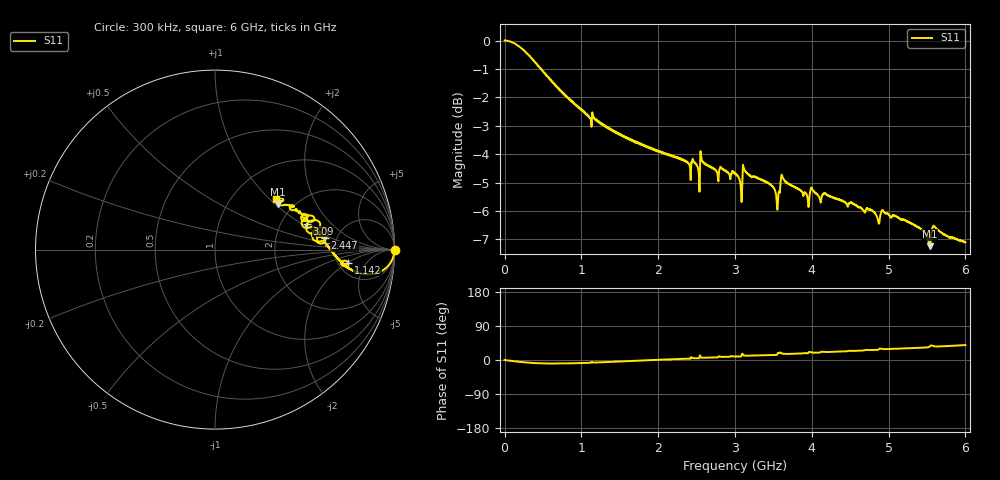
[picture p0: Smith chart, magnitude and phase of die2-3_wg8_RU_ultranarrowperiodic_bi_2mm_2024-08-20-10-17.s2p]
!Keysight Technologies,P9374A,MY57304198,A.17.20.09
!Date: Tuesday, August 20, 2024 10:17:24
!Correction: S11(C  1-Port  )
!S21(C  1-Port  )
!S12(Off)
!S22(Off)
!S2P File: Measurements: S11, S21, S12, S22:
# Hz S  dB  R 50
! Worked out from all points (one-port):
!   6000 points, 300 kHz to 6 GHz, reference 50 ohm
!   lowest |S11| = -7.2 dB at 5.535 GHz (marker M1), VSWR 2.54, Z = 83.9 + j52.5 ohm
!   |S11| at or under -10 dB: nowhere
!   S11 on the Smith chart (normalised r, x): 300 kHz: open; 1.142 GHz: 6.20, -2.03; 2.447 GHz: 4.05, +0.82; 3.09 GHz: 2.77, +1.12; 6 GHz: 1.57, +1.09
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300000  0.00 -0.0  -200.00 45.0  -200.00 45.0  -200.00 45.0
2.323271e8  -0.30 -5.5  -200.00 45.0  -200.00 45.0  -200.00 45.0
4.11348e8  -0.80 -8.2  -200.00 45.0  -200.00 45.0  -200.00 45.0
1.000417e9  -2.45 -8.1  -200.00 45.0  -200.00 45.0  -200.00 45.0
1.142433e9  -2.54 -5.6  -200.00 45.0  -200.00 45.0  -200.00 45.0
2.000533e9  -3.89 0.6  -200.00 45.0  -200.00 45.0  -200.00 45.0
2.446585e9  -4.20 5.8  -200.00 45.0  -200.00 45.0  -200.00 45.0
3.00065e9  -4.69 9.4  -200.00 45.0  -200.00 45.0  -200.00 45.0
3.055656e9  -4.85 9.3  -200.00 45.0  -200.00 45.0  -200.00 45.0
3.08966e9  -5.48 15.8  -200.00 45.0  -200.00 45.0  -200.00 45.0
3.131665e9  -4.59 11.4  -200.00 45.0  -200.00 45.0  -200.00 45.0
3.519711e9  -5.25 13.3  -200.00 45.0  -200.00 45.0  -200.00 45.0
3.559715e9  -5.66 18.8  -200.00 45.0  -200.00 45.0  -200.00 45.0
3.586718e9  -5.25 20.0  -200.00 45.0  -200.00 45.0  -200.00 45.0
3.631724e9  -4.86 16.2  -200.00 45.0  -200.00 45.0  -200.00 45.0
3.86075e9  -5.30 17.1  -200.00 45.0  -200.00 45.0  -200.00 45.0
4.000767e9  -5.20 19.6  -200.00 45.0  -200.00 45.0  -200.00 45.0
5.000883e9  -6.12 28.8  -200.00 45.0  -200.00 45.0  -200.00 45.0
5.419932e9  -6.63 32.4  -200.00 45.0  -200.00 45.0  -200.00 45.0
5.534946e9  -7.24 35.7  -200.00 45.0  -200.00 45.0  -200.00 45.0
5.597953e9  -6.54 36.0  -200.00 45.0  -200.00 45.0  -200.00 45.0
6e9  -7.11 39.4  -200.00 45.0  -200.00 45.0  -200.00 45.0
